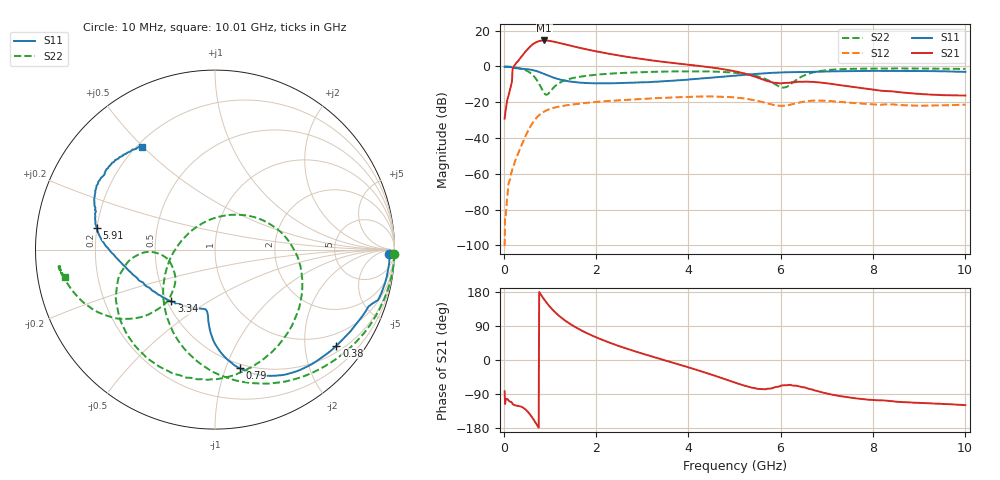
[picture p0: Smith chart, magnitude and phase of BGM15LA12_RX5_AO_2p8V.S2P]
!Agilent Technologies,E5071C,MY46317100,A.11.08
!Date: Fri Dec 19 16:12:40 2014
!Data & Calibration Information:
!Freq	S11:SOLT2(ON)	S21:SOLT2(ON)	S12:SOLT2(ON)	S22:SOLT2(ON)
!PortZ  Port1:50+j0  Port2:50+j0
!Above PortZ is port z conversion or system Z0 setting when saving the data.
!When reading, reference impedance value at option line is always used.
# Hz S RI R 50
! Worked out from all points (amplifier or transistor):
!   1001 points, 10 MHz to 10.01 GHz, reference 50 ohm
!   highest |S21| = 14.5 dB at 870 MHz (marker M1)
!   |S21| within 3 dB of that: 580.3 MHz to 1.454 GHz (873.3 MHz wide, 85.9 % of centre)
!   unconditionally stable (mu >= 1): start of sweep to end of sweep
!   at 1.67 GHz: K = 1.26, MAG = 12.4 dB, |S12| = -20.7 dB
!   at 5.01 GHz: K = 2.32, MAG = 0.9 dB, |S12| = -17.3 dB
!   at 10.01 GHz: K = 5.89, MAG = -8.1 dB, |S12| = -21.3 dB
!   lowest NFmin = 0.94 dB at 650 MHz
!   S11 on the Smith chart (normalised r, x): 10 MHz: 38, -36; 380 MHz: 0.65, -2.74; 790 MHz: 0.46, -1.12; 3.34 GHz: 0.53, -0.35; 5.91 GHz: 0.20, +0.09; 10.01 GHz: 0.22, +0.50
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1e7  0.9721 -0.0255  0.00456 -0.0344  -9.44e-06 -1.03e-06  0.9993 -0.0258
1.2e8  0.9418 -0.2019  -0.0696 -0.1976  -0.000567 0.000344  0.935 -0.2926
2.3e8  0.8212 -0.3697  -0.5358 -0.9483  -0.00198 0.000692  0.7855 -0.5148
3.8e8  0.6763 -0.5354  -1.059 -1.584  -0.00636 0.000852  0.4706 -0.7137
5e8  0.5385 -0.6386  -2.063 -2.083  -0.0139 0.00284  0.1343 -0.7333
5.9e8  0.4137 -0.6905  -3.281 -2.018  -0.0217 0.00816  -0.1084 -0.615
7e8  0.2515 -0.6994  -4.693 -0.9164  -0.0293 0.0217  -0.2783 -0.3337
7.9e8  0.1385 -0.6617  -5.178 0.5539  -0.03 0.0361  -0.2627 -0.0852
8.7e8  0.0671 -0.6106  -4.984 1.854  -0.0261 0.0483  -0.1604 0.077
1.01e9  -0.00246 -0.5202  -3.803 3.407  -0.0131 0.0644  0.0745 0.1923
1.16e9  -0.0286 -0.4472  -2.318 4.037  0.00329 0.074  0.2764 0.1586
1.4e9  -0.0379 -0.3822  -0.5202 3.874  0.0271 0.0793  0.4423 -0.00402
1.68e9  -0.0432 -0.3475  0.6784 3.147  0.0504 0.0782  0.4867 -0.1992
2.29e9  -0.0786 -0.3288  1.565 1.601  0.0894 0.0623  0.3808 -0.4976
3.34e9  -0.2435 -0.2884  1.397 0.1086  0.1296 0.0132  0.0836 -0.7059
3.35e9  -0.2455 -0.2877  1.393 0.0996  0.1297 0.0127  0.0802 -0.7069
4.23e9  -0.4214 -0.1736  0.9123 -0.4831  0.1361 -0.0473  -0.219 -0.6949
5.01e9  -0.5503 -0.045  0.3684 -0.6303  0.0952 -0.0968  -0.5164 -0.4189
5.91e9  -0.6592 0.122  0.1135 -0.3277  0.0435 -0.0686  -0.302 -0.0275
6.68e9  -0.6672 0.2321  0.0779 -0.363  0.063 -0.0909  -0.5472 -0.3839
8.35e9  -0.6151 0.4201  -0.0618 -0.1929  0.0118 -0.0861  -0.8667 -0.0935
1.001e10  -0.409 0.5733  -0.0748 -0.1341  -0.00368 -0.0856  -0.837 -0.1505
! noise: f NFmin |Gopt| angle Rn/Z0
6.5e+08  0.9421  0.2324  39.53  0.2306
6.6e+08  0.9471  0.3508  46.38  0.2756
7e+08  0.953  0.356  54.77  0.2029
8e+08  1.004  0.3666  60.75  0.1897
8.5e+08  1.026  0.3191  67.87  0.1871
9.5e+08  1.066  0.3041  78.67  0.1857
1e+09  1.08  0.3154  82.1  0.1806
1.3e+09  1.165  0.324  94.94  0.1658
1.4e+09  1.184  0.3184  99.62  0.1578
1.6e+09  1.218  0.3343  108.2  0.1407
